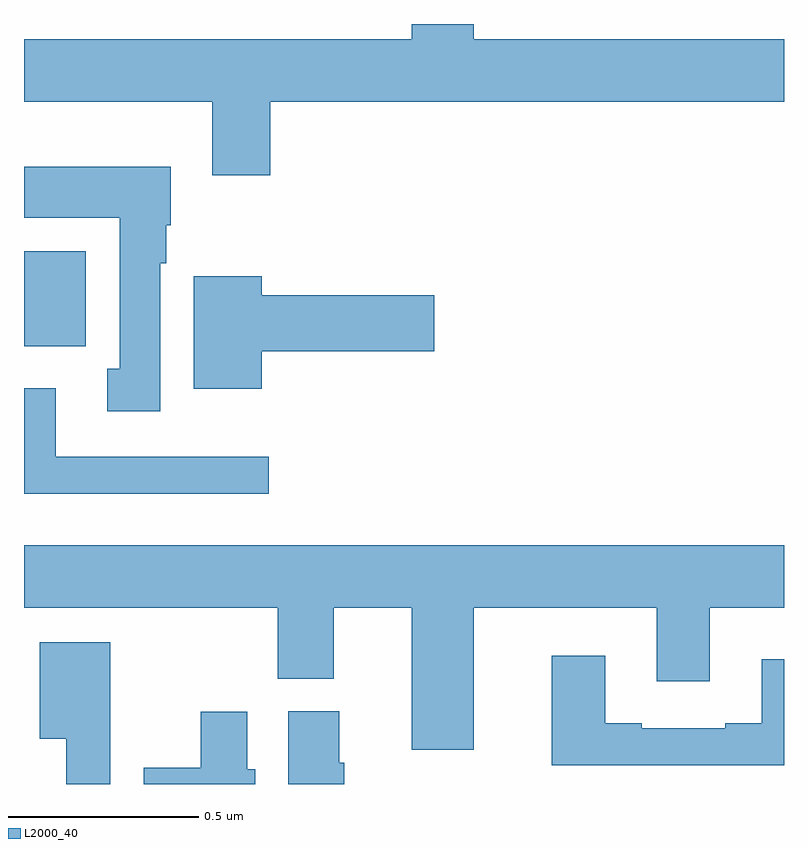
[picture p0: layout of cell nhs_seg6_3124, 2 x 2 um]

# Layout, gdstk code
import gdstk
lib = gdstk.Library(unit=1e-6, precision=1e-09)
def R(c, l, rs):  # rectangles x0, y0, x1, y1
    for r in rs: c.add(gdstk.rectangle(r[:2], r[2:], *l))
def P(c, l, *ps):  # polygons
    for p in ps: c.add(gdstk.Polygon(p, *l))
L2000_40 = (2000, 40)

nhs_seg6_3124 = lib.new_cell('nhs_seg6_3124')
R(nhs_seg6_3124, L2000_40, [(152,986.652,152.163,986.902)])
P(nhs_seg6_3124, L2000_40, [(152.648,987.296),(154,987.296),(154,987.46),(153.184,987.46),(153.184,987.5),(153.02,987.5),(153.02,987.46),(152,987.46),(152,987.296),(152.495,987.296),(152.495,987.102),(152.648,987.102)],
  [(152.359,986.87),(152.374,986.87),(152.374,986.97),(152.386,986.97),(152.386,987.124),(152,987.124),(152,986.99),(152.252,986.99),(152.252,986.593),(152.219,986.593),(152.219,986.481),(152.359,986.481)],
  [(152.626,986.639),(153.079,986.639),(153.079,986.786),(152.626,986.786),(152.626,986.836),(152.447,986.836),(152.447,986.54),(152.626,986.54)],
  [(152.644,986.361),(152.083,986.361),(152.083,986.542),(152,986.542),(152,986.264),(152.644,986.264)],
  [(153.184,985.964),(153.665,985.964),(153.665,985.77),(153.805,985.77),(153.805,985.964),(154,985.964),(154,986.128),(152,986.128),(152,985.964),(152.668,985.964),(152.668,985.777),(152.815,985.777),(152.815,985.964),(153.02,985.964),(153.02,985.59),(153.184,985.59)],
  [(152.227,985.873),(152.042,985.873),(152.042,985.619),(152.111,985.619),(152.111,985.5),(152.227,985.5)],
  [(154,985.828),(153.941,985.828),(153.941,985.66),(153.845,985.66),(153.845,985.647),(153.625,985.647),(153.625,985.66),(153.529,985.66),(153.529,985.837),(153.389,985.837),(153.389,985.55),(154,985.55)],
  [(152.843,985.556),(152.83,985.556),(152.83,985.692),(152.696,985.692),(152.696,985.5),(152.843,985.5)],
  [(152.608,985.539),(152.587,985.539),(152.587,985.69),(152.465,985.69),(152.465,985.543),(152.315,985.543),(152.315,985.5),(152.608,985.5)])

lib.write_gds('nhs_seg6_3124.gds')
